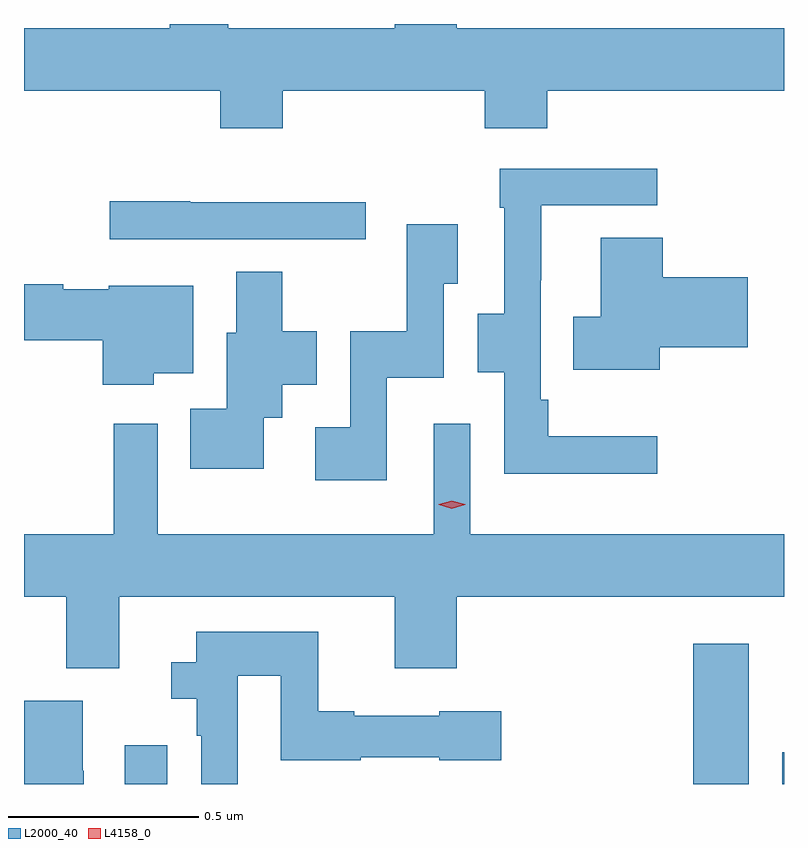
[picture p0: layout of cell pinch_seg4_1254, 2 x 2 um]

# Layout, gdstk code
import gdstk
lib = gdstk.Library(unit=1e-6, precision=1e-09)
def R(c, l, rs):  # rectangles x0, y0, x1, y1
    for r in rs: c.add(gdstk.rectangle(r[:2], r[2:], *l))
def P(c, l, *ps):  # polygons
    for p in ps: c.add(gdstk.Polygon(p, *l))
L2000_40 = (2000, 40)
L4158_0 = (4158, 0)

pinch_seg4_1254 = lib.new_cell('pinch_seg4_1254')
R(pinch_seg4_1254, L2000_40, [(332.13,821.635,332.242,821.737), (333.626,821.635,333.772,822.004), (333.861,821.635,333.865,821.719)])
P(pinch_seg4_1254, L2000_40, [(332.546,823.46),(333.077,823.46),(333.077,823.361),(333.242,823.361),(333.242,823.46),(333.865,823.46),(333.865,823.624),(333.004,823.624),(333.004,823.635),(332.84,823.635),(332.84,823.624),(332.403,823.624),(332.403,823.635),(332.248,823.635),(332.248,823.624),(331.865,823.624),(331.865,823.46),(332.381,823.46),(332.381,823.361),(332.546,823.361)],
  [(333.532,822.55),(333.245,822.55),(333.245,822.646),(333.225,822.646),(333.225,822.961),(333.226,822.961),(333.226,823.158),(333.532,823.158),(333.532,823.254),(333.117,823.254),(333.117,823.151),(333.129,823.151),(333.129,822.873),(333.059,822.873),(333.059,822.718),(333.129,822.718),(333.129,822.452),(333.532,822.452)],
  [(332.764,823.166),(332.303,823.166),(332.303,823.169),(332.091,823.169),(332.091,823.068),(332.764,823.068)],
  [(332.82,822.704),(332.97,822.704),(332.97,822.952),(333.007,822.952),(333.007,823.108),(332.872,823.108),(332.872,822.826),(332.724,822.826),(332.724,822.574),(332.631,822.574),(332.631,822.434),(332.82,822.434)],
  [(333.538,822.785),(333.769,822.785),(333.769,822.968),(333.546,822.968),(333.546,823.073),(333.383,823.073),(333.383,822.865),(333.31,822.865),(333.31,822.725),(333.538,822.725)],
  [(332.496,822.599),(332.545,822.599),(332.545,822.686),(332.635,822.686),(332.635,822.826),(332.545,822.826),(332.545,822.983),(332.423,822.983),(332.423,822.822),(332.399,822.822),(332.399,822.622),(332.302,822.622),(332.302,822.464),(332.496,822.464)],
  [(332.206,822.716),(332.311,822.716),(332.311,822.946),(332.088,822.946),(332.088,822.937),(331.968,822.937),(331.968,822.95),(331.865,822.95),(331.865,822.803),(332.072,822.803),(332.072,822.686),(332.206,822.686)],
  [(332.116,822.128),(332.84,822.128),(332.84,821.94),(333.004,821.94),(333.004,822.128),(333.865,822.128),(333.865,822.292),(333.039,822.292),(333.039,822.583),(332.943,822.583),(332.943,822.292),(332.217,822.292),(332.217,822.583),(332.101,822.583),(332.101,822.292),(331.865,822.292),(331.865,822.128),(331.976,822.128),(331.976,821.939),(332.116,821.939)],
  [(332.427,821.92),(332.541,821.92),(332.541,821.698),(332.751,821.698),(332.751,821.706),(332.958,821.706),(332.958,821.698),(333.121,821.698),(333.121,821.827),(332.958,821.827),(332.958,821.814),(332.734,821.814),(332.734,821.827),(332.639,821.827),(332.639,822.036),(332.318,822.036),(332.318,821.956),(332.252,821.956),(332.252,821.859),(332.319,821.859),(332.319,821.762),(332.331,821.762),(332.331,821.635),(332.427,821.635)],
  [(332.022,821.67),(332.02,821.67),(332.02,821.854),(331.865,821.854),(331.865,821.635),(332.022,821.635)])
P(pinch_seg4_1254, L4158_0, [(332.991,822.36),(332.956,822.37),(332.956,822.37),(332.956,822.371),(332.991,822.38),(333.026,822.371),(333.026,822.37),(333.026,822.37)])

lib.write_gds('pinch_seg4_1254.gds')
